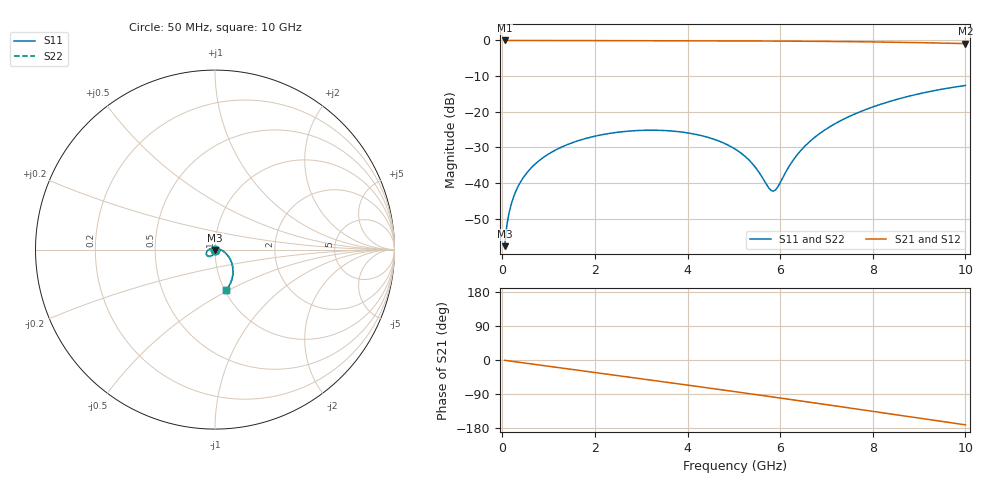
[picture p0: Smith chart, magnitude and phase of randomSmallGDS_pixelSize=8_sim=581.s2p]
! freq	dB(S11)	phase(S11)	dB(S12)	phase(S12)
!  dB(S21)	phase(S21)	dB(S22)	phase(S22)
!S-par simulation data
#  GHz  S  DB  R 50
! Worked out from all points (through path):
!   200 points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, 50 MHz to 10 GHz, reference 50 ohm
!   highest |S21| = 0.00 dB at 50 MHz (marker M1); lowest = -0.9 dB at 10 GHz (marker M2)
!   group delay of S21, straight-line fit = 47.5 ps
!   lowest |S11| = -57.7 dB at 50 MHz (marker M3), VSWR 1.00, Z = 50 - j0.131 ohm
!   |S11| at or under -10 dB: start of sweep to end of sweep
!   |S22| runs from -57.7 to -12.6 dB; largest |S21 - S12| = 0
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0.05  -57.66 -91.1  -0.00 -0.8  -0.00 -0.8  -57.66 -91.1
0.1  -51.62 -92.1  -0.00 -1.7  -0.00 -1.7  -51.62 -92.1
0.2  -45.57 -94.1  -0.00 -3.3  -0.00 -3.3  -45.57 -94.1
0.35  -40.69 -96.7  -0.00 -5.8  -0.00 -5.8  -40.69 -96.7
0.5  -37.61 -99.2  -0.01 -8.3  -0.01 -8.3  -37.61 -99.2
0.7  -34.75 -102.6  -0.01 -11.6  -0.01 -11.6  -34.75 -102.6
1  -31.81 -107.7  -0.02 -16.6  -0.02 -16.6  -31.81 -107.8
1.75  -27.66 -120.6  -0.04 -28.9  -0.04 -28.9  -27.66 -120.6
2.55  -25.64 -134.3  -0.06 -42.1  -0.06 -42.1  -25.64 -134.4
3.4  -25.19 -149.3  -0.08 -56.2  -0.08 -56.2  -25.19 -149.3
4.35  -26.83 -167.6  -0.10 -72.1  -0.10 -72.1  -26.83 -167.6
5.05  -30.63 174.8  -0.13 -83.9  -0.13 -83.9  -30.62 174.7
5.4  -34.53 159.7  -0.14 -89.9  -0.14 -89.9  -34.52 159.5
5.75  -41.27 114.6  -0.16 -95.9  -0.16 -95.9  -41.20 114.3
5.85  -42.26 84.6  -0.17 -97.7  -0.17 -97.7  -42.17 84.6
5.95  -41.03 54.2  -0.17 -99.4  -0.17 -99.4  -40.96 54.5
6.35  -32.34 5.6  -0.20 -106.3  -0.20 -106.3  -32.33 5.9
6.7  -27.65 -8.3  -0.23 -112.5  -0.23 -112.5  -27.64 -8.2
7.4  -21.87 -25.8  -0.31 -124.8  -0.31 -124.8  -21.87 -25.7
8.35  -17.15 -44.8  -0.47 -141.7  -0.47 -141.7  -17.15 -44.7
9.2  -14.40 -60.5  -0.66 -156.9  -0.66 -156.9  -14.40 -60.4
10  -12.62 -74.7  -0.87 -171.1  -0.87 -171.1  -12.62 -74.7
